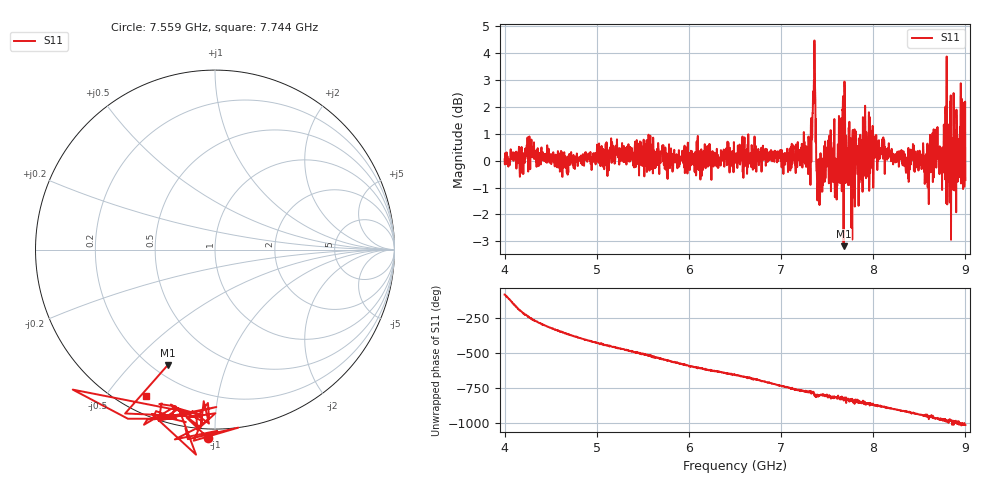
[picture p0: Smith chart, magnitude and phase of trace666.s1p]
! Created with skrf 1.8.0 (http://scikit-rf.org).
# Hz S RI R 50.0
!freq ReS11 ImS11
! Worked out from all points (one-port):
!   1601 points, 4 GHz to 9 GHz, reference 50 ohm
!   lowest |S11| = -3.2 dB at 7.678 GHz (marker M1), VSWR 5.53, Z = 12.9 - j32 ohm
!   |S11| at or under -10 dB: nowhere
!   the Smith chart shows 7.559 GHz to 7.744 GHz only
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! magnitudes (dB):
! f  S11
! 4 GHz  0.0
! 4.625 GHz  -0.6
! 5.25 GHz  0.3
! 5.875 GHz  -0.3
! 6.5 GHz  -0.1
! 7.125 GHz  0.1
! 7.294 GHz  -0.5
! 7.319 GHz  -0.9
! 7.347 GHz  2.6
! 7.366 GHz  3.1
! 7.4 GHz  -0.8
! 7.412 GHz  -1.2
! 7.488 GHz  0.0
! 7.588 GHz  -0.5
! 7.65 GHz  1.6
! 7.678 GHz  -3.2
! 7.75 GHz  0.3
! 7.784 GHz  -0.1
! 7.8 GHz  -1.7
! 7.928 GHz  0.7
! 8.375 GHz  -0.1
! 8.581 GHz  0.0
! 8.656 GHz  1.2
! 8.738 GHz  -0.4
! 8.788 GHz  -0.2
! 8.869 GHz  -1.1
! 8.959 GHz  2.3
! 9 GHz  -0.7
